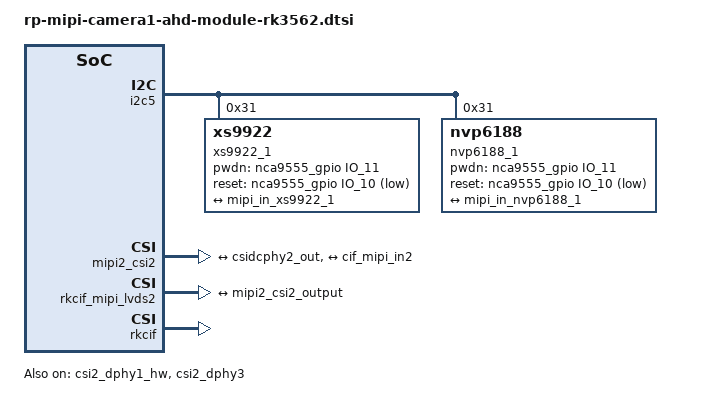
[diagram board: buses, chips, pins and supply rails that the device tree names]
&i2c5 {
        status = "okay";

        xs9922_1: xs9922_1@31 {
                compatible = "xs9922";
                status = "okay";
                reg = <0x31>;
                clocks = <&cru CLK_CAM2_OUT2IO>;
                clock-names = "xvclk";
                pinctrl-names = "default";
                pinctrl-0 = <&cam_clk2_out>;
                pwdn-gpios = <&nca9555_gpio IO_11 GPIO_ACTIVE_HIGH>;
                reset-gpios = <&nca9555_gpio IO_10 GPIO_ACTIVE_LOW>;
                rockchip,camera-module-index = <1>;
                rockchip,camera-module-facing = "front";
                rockchip,camera-module-name = "default";
                rockchip,camera-module-lens-name = "default";
                rockchip,default_rect= <1920 1080>;
                port {
                        xs9922_out1: endpoint {
                                remote-endpoint = <&mipi_in_xs9922_1>;
                                data-lanes = <1 2 3 4>;
                        };
                };
        };

        nvp6188_1: nvp6188_1@31 {
                compatible = "nvp6188";
                status = "okay";
                reg = <0x31>;
                clocks = <&cru CLK_CAM2_OUT2IO>;
                clock-names = "xvclk";
                pinctrl-names = "default";
                pinctrl-0 = <&cam_clk2_out>;
                pwdn-gpios = <&nca9555_gpio IO_11 GPIO_ACTIVE_HIGH>;
                reset-gpios = <&nca9555_gpio IO_10 GPIO_ACTIVE_LOW>;
                rockchip,camera-module-index = <1>;
                rockchip,camera-module-facing = "front";
                rockchip,camera-module-name = "default";
                rockchip,camera-module-lens-name = "default";
                rockchip,default_rect= <1920 1080>;
                port {
                        nvp6188_out1: endpoint {
                                remote-endpoint = <&mipi_in_nvp6188_1>;
                                data-lanes = <1 2 3 4>;
                        };
                };
        };
};


&csi2_dphy1_hw {
	status = "okay";
};

&csi2_dphy3 {
        status = "okay";

        ports {
                #address-cells = <1>;
                #size-cells = <0>;
                port@0 {
                        reg = <0>;
                        #address-cells = <1>;
                        #size-cells = <0>;

                        mipi_in_xs9922_1: endpoint@1 {
                                reg = <1>;
                                remote-endpoint = <&xs9922_out1>;
                                data-lanes = <1 2 3 4>;
                        };

                        mipi_in_nvp6188_1: endpoint@2 {
                                reg = <2>;
                                remote-endpoint = <&nvp6188_out1>;
                                data-lanes = <1 2 3 4>;
                        };

              };
                port@1 {
                        reg = <1>;
                        #address-cells = <1>;
                        #size-cells = <0>;

                        csidcphy2_out: endpoint@0 {
                                reg = <0>;
                                remote-endpoint = <&mipi2_csi2_input>;
                        };
                };
        };
};


&mipi2_csi2 {
	status = "okay";

	ports {
		#address-cells = <1>;
		#size-cells = <0>;

		port@0 {
			reg = <0>;
			#address-cells = <1>;
			#size-cells = <0>;

			mipi2_csi2_input: endpoint@1 {
				reg = <1>;
				remote-endpoint = <&csidcphy2_out>;
			};
		};

		port@1 {
			reg = <1>;
			#address-cells = <1>;
			#size-cells = <0>;

			mipi2_csi2_output: endpoint@0 {
				reg = <0>;
				remote-endpoint = <&cif_mipi_in2>;
			};
		};
	};
};

&rkcif_mipi_lvds2 {
	status = "okay";

	port {
		cif_mipi_in2: endpoint {
			remote-endpoint = <&mipi2_csi2_output>;
		};
	};
};

&rkcif {
        status = "okay";
};

&rkcif_mmu {
	status = "okay";
};

